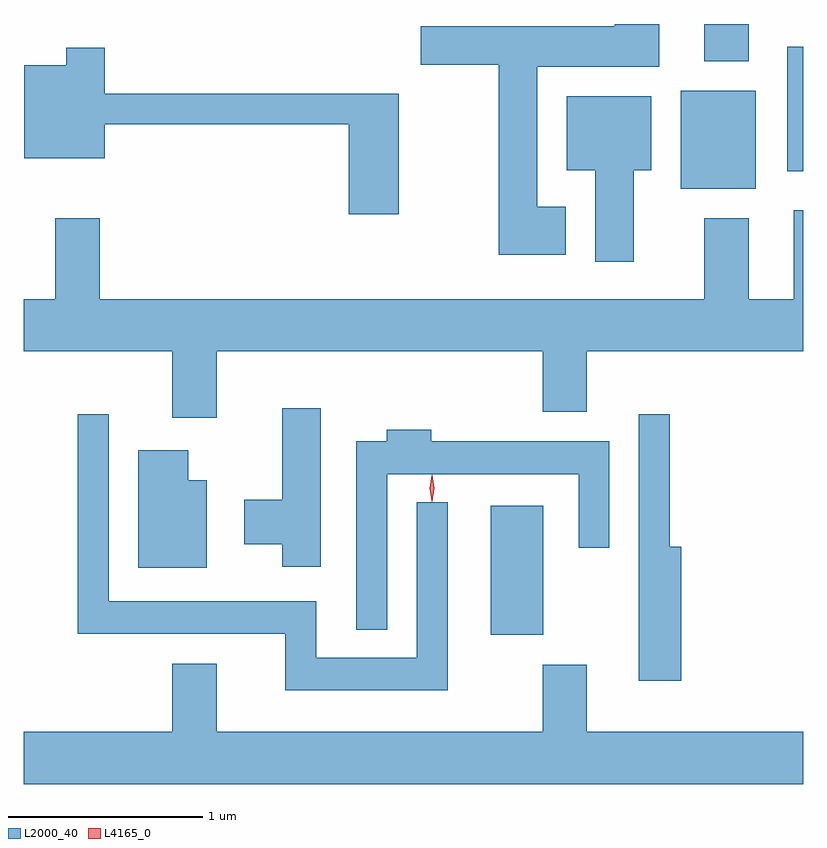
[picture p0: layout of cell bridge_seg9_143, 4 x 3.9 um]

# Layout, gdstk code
import gdstk
lib = gdstk.Library(unit=1e-6, precision=1e-09)
def R(c, l, rs):  # rectangles x0, y0, x1, y1
    for r in rs: c.add(gdstk.rectangle(r[:2], r[2:], *l))
def P(c, l, *ps):  # polygons
    for p in ps: c.add(gdstk.Polygon(p, *l))
L2000_40 = (2000, 40)
L4165_0 = (4165, 0)

bridge_seg9_143 = lib.new_cell('bridge_seg9_143')
R(bridge_seg9_143, L2000_40, [(1437.366,2048.081,1437.634,2048.744), (1438.341,2050.371,1438.724,2050.874), (1438.886,2050.461,1438.969,2051.099), (1438.461,2051.026,1438.689,2051.216)])
P(bridge_seg9_143, L2000_40, [(1437.749,2050.279),(1437.604,2050.279),(1437.604,2050.996),(1438.229,2050.996),(1438.229,2051.216),(1438.001,2051.216),(1438.001,2051.204),(1437.006,2051.204),(1437.006,2051.006),(1437.406,2051.006),(1437.406,2050.031),(1437.749,2050.031)],
  [(1436.894,2050.859),(1435.384,2050.859),(1435.384,2051.094),(1435.186,2051.094),(1435.186,2051.004),(1434.971,2051.004),(1434.971,2050.526),(1435.384,2050.526),(1435.384,2050.701),(1436.636,2050.701),(1436.636,2050.241),(1436.894,2050.241)],
  [(1438.099,2050.466),(1438.189,2050.466),(1438.189,2050.844),(1437.756,2050.844),(1437.756,2050.466),(1437.901,2050.466),(1437.901,2049.996),(1438.099,2049.996)],
  [(1435.959,2049.536),(1437.631,2049.536),(1437.631,2049.226),(1437.859,2049.226),(1437.859,2049.536),(1438.969,2049.536),(1438.969,2050.259),(1438.921,2050.259),(1438.921,2049.804),(1438.689,2049.804),(1438.689,2050.219),(1438.461,2050.219),(1438.461,2049.804),(1435.359,2049.804),(1435.359,2050.219),(1435.131,2050.219),(1435.131,2049.804),(1434.969,2049.804),(1434.969,2049.536),(1435.731,2049.536),(1435.731,2049.196),(1435.959,2049.196)],
  [(1436.494,2049.244),(1436.296,2049.244),(1436.296,2048.774),(1436.101,2048.774),(1436.101,2048.546),(1436.296,2048.546),(1436.296,2048.431),(1436.494,2048.431)],
  [(1438.344,2048.534),(1438.284,2048.534),(1438.284,2049.213),(1438.126,2049.213),(1438.126,2047.846),(1438.344,2047.846)],
  [(1437.144,2048.762),(1436.986,2048.762),(1436.986,2047.964),(1436.469,2047.964),(1436.469,2048.254),(1435.404,2048.254),(1435.404,2049.213),(1435.246,2049.213),(1435.246,2048.086),(1436.311,2048.086),(1436.311,2047.796),(1437.144,2047.796)],
  [(1436.834,2048.906),(1437.816,2048.906),(1437.816,2048.528),(1437.974,2048.528),(1437.974,2049.074),(1437.059,2049.074),(1437.059,2049.134),(1436.831,2049.134),(1436.831,2049.074),(1436.676,2049.074),(1436.676,2048.108),(1436.834,2048.108)],
  [(1435.909,2048.874),(1435.814,2048.874),(1435.814,2049.029),(1435.556,2049.029),(1435.556,2048.426),(1435.909,2048.426)],
  [(1438.969,2047.584),(1437.859,2047.584),(1437.859,2047.929),(1437.631,2047.929),(1437.631,2047.584),(1435.959,2047.584),(1435.959,2047.934),(1435.731,2047.934),(1435.731,2047.584),(1434.969,2047.584),(1434.969,2047.316),(1438.969,2047.316)])
P(bridge_seg9_143, L4165_0, [(1437.065,2048.764),(1437.065,2048.764),(1437.055,2048.834),(1437.065,2048.903),(1437.065,2048.903),(1437.066,2048.903),(1437.075,2048.834),(1437.066,2048.764)],
  [(1437.062,2048.767),(1437.053,2048.834),(1437.062,2048.9),(1437.063,2048.901),(1437.063,2048.9),(1437.073,2048.834),(1437.063,2048.767),(1437.063,2048.767)])

lib.write_gds('bridge_seg9_143.gds')
